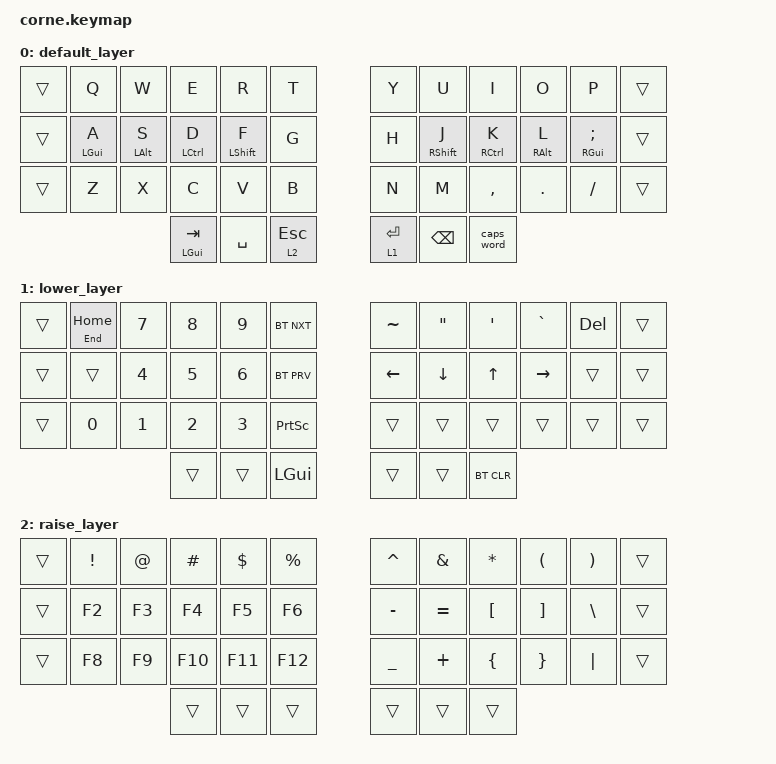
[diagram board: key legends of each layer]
/*
 * Copyright (c) 2020 The ZMK Contributors
 *
 * SPDX-License-Identifier: MIT
 */

#include <behaviors.dtsi>
#include <dt-bindings/zmk/bt.h>
#include <dt-bindings/zmk/keys.h>

/ {
    behaviors {
        hm: homerow_mods {
            compatible = "zmk,behavior-hold-tap";
            #binding-cells = <2>;
            tapping-term-ms = <200>;
            quick-tap-ms = <0>;
            flavor = "tap-preferred";
            bindings = <&kp>, <&kp>;
        };
    };

    keymap {
        compatible = "zmk,keymap";

        default_layer {
            // -----------------------------------------------------------------------------------------
            // |  TAB |  Q  |  W  |  E  |  R  |  T  |   |  Y  |  U   |  I  |  O  |  P  | BKSP |
            // | CTRL |  A  |  S  |  D  |  F  |  G  |   |  H  |  J   |  K  |  L  |  ;  |  '   |
            // | SHFT |  Z  |  X  |  C  |  V  |  B  |   |  N  |  M   |  ,  |  .  |  /  | ESC  |
            //                    | GUI | LWR | SPC |   | ENT | RSE  | ALT |

            bindings = <
&trans  &kp Q           &kp W       &kp E         &kp R        &kp T        &kp Y        &kp U          &kp I        &kp O       &kp P                    &trans
&trans  &hm LEFT_GUI A  &hm LALT S  &hm LCTRL D   &hm LSHFT F  &kp G        &kp H        &hm RSHFT J    &hm RCTRL K  &hm RALT L  &hm RIGHT_GUI SEMICOLON  &trans
&trans  &kp Z           &kp X       &kp C         &kp V        &kp B        &kp N        &kp M          &kp COMMA    &kp DOT     &kp FSLH                 &trans
                                    &mt LGUI TAB  &kp SPACE    &lt 2 ESC    &lt 1 ENTER  &kp BACKSPACE  &caps_word
            >;
        };

        lower_layer { // layer 1
            // -----------------------------------------------------------------------------------------
            // |  TAB |  1  |  2  |  3  |  4  |  5  |   |  6  |  7  |  8  |  9  |  0  | BKSP |
            // | BTCLR| BT1 | BT2 | BT3 | BT4 | BT5 |   | LFT | DWN |  UP | RGT |     |      |
            // | SHFT |     |     |     |     |     |   |     |     |     |     |     |      |
            //                    | GUI |     | SPC |   | ENT |     | ALT |

            bindings = <
&trans  &mt END HOME  &kp NUMBER_7  &kp NUMBER_8  &kp N9        &bt BT_NXT         &kp TILDE  &kp DOUBLE_QUOTES  &kp SINGLE_QUOTE  &kp GRAVE  &kp DEL   &trans
&trans  &trans        &kp NUMBER_4  &kp NUMBER_5  &kp NUMBER_6  &bt BT_PRV         &kp LEFT   &kp DOWN           &kp UP            &kp RIGHT  &trans    &trans
&trans  &kp NUMBER_0  &kp NUMBER_1  &kp NUMBER_2  &kp NUMBER_3  &kp PRINTSCREEN    &trans     &trans             &trans            &trans     &trans    &trans
                                    &trans        &trans        &kp LGUI           &trans     &trans             &bt BT_CLR
            >;
        };

        raise_layer { // layer 2
            // -----------------------------------------------------------------------------------------
            // |  TAB |  !  |  @  |  #  |  $  |  %  |   |  ^  |  &  |  *  |  (  |  )  | BKSP |
            // | CTRL |     |     |     |     |     |   |  -  |  =  |  [  |  ]  |  \  |  `   |
            // | SHFT |     |     |     |     |     |   |  _  |  +  |  {  |  }  | "|" |  ~   |
            //                    | GUI |     | SPC |   | ENT |     | ALT |

            bindings = <
&trans  &kp EXCL  &kp AT  &kp HASH  &kp DLLR  &kp PRCNT    &kp CARET  &kp AMPS   &kp ASTERISK  &kp LPAR  &kp RPAR  &trans
&trans  &kp F2    &kp F3  &kp F4    &kp F5    &kp F6       &kp MINUS  &kp EQUAL  &kp LBKT      &kp RBKT  &kp BSLH  &trans
&trans  &kp F8    &kp F9  &kp F10   &kp F11   &kp F12      &kp UNDER  &kp PLUS   &kp LBRC      &kp RBRC  &kp PIPE  &trans
                          &trans    &trans    &trans       &trans     &trans     &trans
            >;
        };
    };
};
